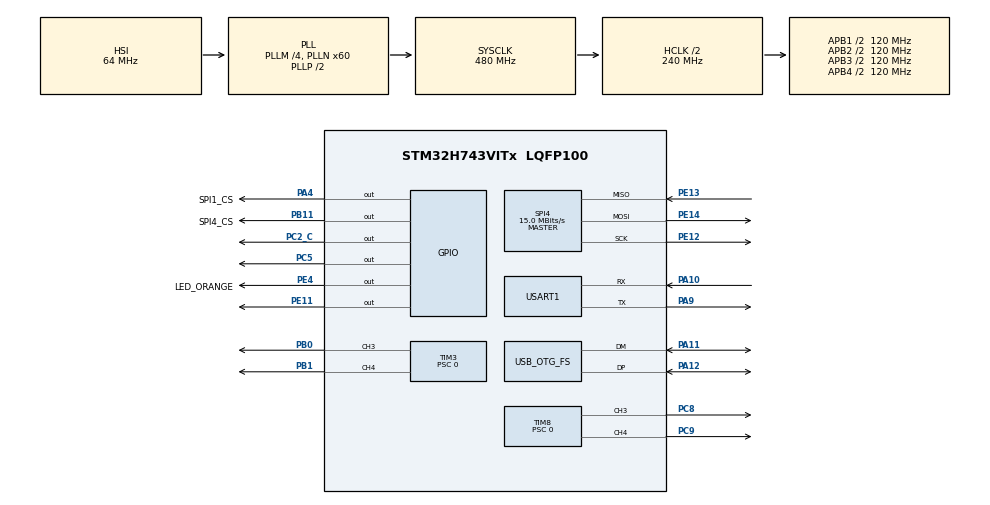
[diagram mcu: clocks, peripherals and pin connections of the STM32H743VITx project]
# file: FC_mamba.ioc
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CORTEX_M7.AccessPermission_Spec=MPU_REGION_FULL_ACCESS
CORTEX_M7.BaseAddress_Spec=0x30000000
CORTEX_M7.CPU_DCache=Enabled
CORTEX_M7.CPU_ICache=Enabled
CORTEX_M7.Size_Spec=MPU_REGION_SIZE_1KB
CORTEX_M7.TypeExtField_Spec=MPU_TEX_LEVEL1
CORTEX_M7.default_mode_Activation=1
Dma.Request0=USART1_RX
Dma.Request1=USART1_TX
Dma.Request2=TIM3_CH3
Dma.Request3=TIM3_CH4
Dma.Request4=TIM8_CH3
Dma.Request5=TIM8_CH4
Dma.TIM3_CH3.2.Direction=DMA_MEMORY_TO_PERIPH
Dma.TIM3_CH3.2.EventEnable=DISABLE
Dma.TIM3_CH3.2.FIFOMode=DMA_FIFOMODE_DISABLE
Dma.TIM3_CH3.2.Instance=DMA1_Stream2
Dma.TIM3_CH3.2.MemDataAlignment=DMA_MDATAALIGN_WORD
Dma.TIM3_CH3.2.MemInc=DMA_MINC_ENABLE
Dma.TIM3_CH3.2.Mode=DMA_NORMAL
Dma.TIM3_CH3.2.PeriphDataAlignment=DMA_PDATAALIGN_WORD
Dma.TIM3_CH3.2.PeriphInc=DMA_PINC_DISABLE
Dma.TIM3_CH3.2.Polarity=HAL_DMAMUX_REQ_GEN_RISING
Dma.TIM3_CH3.2.Priority=DMA_PRIORITY_LOW
Dma.TIM3_CH3.2.RequestNumber=1
Dma.TIM3_CH3.2.SignalID=NONE
Dma.TIM3_CH3.2.SyncEnable=DISABLE
Dma.TIM3_CH3.2.SyncPolarity=HAL_DMAMUX_SYNC_NO_EVENT
Dma.TIM3_CH3.2.SyncRequestNumber=1
Dma.TIM3_CH3.2.SyncSignalID=NONE
Dma.TIM3_CH4.3.Direction=DMA_MEMORY_TO_PERIPH
Dma.TIM3_CH4.3.EventEnable=DISABLE
Dma.TIM3_CH4.3.FIFOMode=DMA_FIFOMODE_DISABLE
Dma.TIM3_CH4.3.Instance=DMA1_Stream3
Dma.TIM3_CH4.3.MemDataAlignment=DMA_MDATAALIGN_WORD
Dma.TIM3_CH4.3.MemInc=DMA_MINC_ENABLE
Dma.TIM3_CH4.3.Mode=DMA_NORMAL
Dma.TIM3_CH4.3.PeriphDataAlignment=DMA_PDATAALIGN_WORD
Dma.TIM3_CH4.3.PeriphInc=DMA_PINC_DISABLE
Dma.TIM3_CH4.3.Polarity=HAL_DMAMUX_REQ_GEN_RISING
Dma.TIM3_CH4.3.Priority=DMA_PRIORITY_LOW
Dma.TIM3_CH4.3.RequestNumber=1
Dma.TIM3_CH4.3.SignalID=NONE
Dma.TIM3_CH4.3.SyncEnable=DISABLE
Dma.TIM3_CH4.3.SyncPolarity=HAL_DMAMUX_SYNC_NO_EVENT
Dma.TIM3_CH4.3.SyncRequestNumber=1
Dma.TIM3_CH4.3.SyncSignalID=NONE
Dma.TIM8_CH3.4.Direction=DMA_MEMORY_TO_PERIPH
Dma.TIM8_CH3.4.EventEnable=DISABLE
Dma.TIM8_CH3.4.FIFOMode=DMA_FIFOMODE_DISABLE
Dma.TIM8_CH3.4.Instance=DMA1_Stream4
Dma.TIM8_CH3.4.MemDataAlignment=DMA_MDATAALIGN_WORD
Dma.TIM8_CH3.4.MemInc=DMA_MINC_ENABLE
Dma.TIM8_CH3.4.Mode=DMA_NORMAL
Dma.TIM8_CH3.4.PeriphDataAlignment=DMA_PDATAALIGN_WORD
Dma.TIM8_CH3.4.PeriphInc=DMA_PINC_DISABLE
Dma.TIM8_CH3.4.Polarity=HAL_DMAMUX_REQ_GEN_RISING
Dma.TIM8_CH3.4.Priority=DMA_PRIORITY_LOW
Dma.TIM8_CH3.4.RequestNumber=1
Dma.TIM8_CH3.4.SignalID=NONE
Dma.TIM8_CH3.4.SyncEnable=DISABLE
Dma.TIM8_CH3.4.SyncPolarity=HAL_DMAMUX_SYNC_NO_EVENT
Dma.TIM8_CH3.4.SyncRequestNumber=1
Dma.TIM8_CH3.4.SyncSignalID=NONE
Dma.TIM8_CH4.5.Direction=DMA_MEMORY_TO_PERIPH
Dma.TIM8_CH4.5.EventEnable=DISABLE
Dma.TIM8_CH4.5.FIFOMode=DMA_FIFOMODE_DISABLE
Dma.TIM8_CH4.5.Instance=DMA1_Stream5
Dma.TIM8_CH4.5.MemDataAlignment=DMA_MDATAALIGN_WORD
Dma.TIM8_CH4.5.MemInc=DMA_MINC_ENABLE
Dma.TIM8_CH4.5.Mode=DMA_NORMAL
Dma.TIM8_CH4.5.PeriphDataAlignment=DMA_PDATAALIGN_WORD
Dma.TIM8_CH4.5.PeriphInc=DMA_PINC_DISABLE
Dma.TIM8_CH4.5.Polarity=HAL_DMAMUX_REQ_GEN_RISING
Dma.TIM8_CH4.5.Priority=DMA_PRIORITY_LOW
Dma.TIM8_CH4.5.RequestNumber=1
Dma.TIM8_CH4.5.SignalID=NONE
Dma.TIM8_CH4.5.SyncEnable=DISABLE
Dma.TIM8_CH4.5.SyncPolarity=HAL_DMAMUX_SYNC_NO_EVENT
Dma.TIM8_CH4.5.SyncRequestNumber=1
Dma.TIM8_CH4.5.SyncSignalID=NONE
Dma.USART1_RX.0.Direction=DMA_PERIPH_TO_MEMORY
Dma.USART1_RX.0.EventEnable=DISABLE
Dma.USART1_RX.0.FIFOMode=DMA_FIFOMODE_DISABLE
Dma.USART1_RX.0.Instance=DMA1_Stream0
Dma.USART1_RX.0.MemDataAlignment=DMA_MDATAALIGN_BYTE
Dma.USART1_RX.0.MemInc=DMA_MINC_ENABLE
Dma.USART1_RX.0.Mode=DMA_CIRCULAR
Dma.USART1_RX.0.PeriphDataAlignment=DMA_PDATAALIGN_BYTE
Dma.USART1_RX.0.PeriphInc=DMA_PINC_DISABLE
Dma.USART1_RX.0.Polarity=HAL_DMAMUX_REQ_GEN_RISING
Dma.USART1_RX.0.Priority=DMA_PRIORITY_LOW
Dma.USART1_RX.0.RequestNumber=1
Dma.USART1_RX.0.SignalID=NONE
Dma.USART1_RX.0.SyncEnable=DISABLE
Dma.USART1_RX.0.SyncPolarity=HAL_DMAMUX_SYNC_NO_EVENT
Dma.USART1_RX.0.SyncRequestNumber=1
Dma.USART1_RX.0.SyncSignalID=NONE
Dma.USART1_TX.1.Direction=DMA_MEMORY_TO_PERIPH
Dma.USART1_TX.1.EventEnable=DISABLE
Dma.USART1_TX.1.FIFOMode=DMA_FIFOMODE_DISABLE
Dma.USART1_TX.1.Instance=DMA1_Stream1
Dma.USART1_TX.1.MemDataAlignment=DMA_MDATAALIGN_BYTE
Dma.USART1_TX.1.MemInc=DMA_MINC_ENABLE
Dma.USART1_TX.1.Mode=DMA_NORMAL
Dma.USART1_TX.1.PeriphDataAlignment=DMA_PDATAALIGN_BYTE
Dma.USART1_TX.1.PeriphInc=DMA_PINC_DISABLE
Dma.USART1_TX.1.Polarity=HAL_DMAMUX_REQ_GEN_RISING
Dma.USART1_TX.1.Priority=DMA_PRIORITY_LOW
Dma.USART1_TX.1.RequestNumber=1
Dma.USART1_TX.1.SignalID=NONE
Dma.USART1_TX.1.SyncEnable=DISABLE
Dma.USART1_TX.1.SyncPolarity=HAL_DMAMUX_SYNC_NO_EVENT
Dma.USART1_TX.1.SyncRequestNumber=1
Dma.USART1_TX.1.SyncSignalID=NONE
FREERTOS.Tasks01=Task_System,8,256,StartTask_System,Default,NULL,Dynamic,NULL,NULL;Task_FlightCont,48,1024,StartTask_FlightControl,Default,NULL,Dynamic,NULL,NULL;Task_RC_Update,24,512,StartTask_RC,Default,NULL,Dynamic,NULL,NULL
FREERTOS.configMINIMAL_STACK_SIZE=256
FREERTOS.configTOTAL_HEAP_SIZE=65536
Mcu.Family=STM32H7
Mcu.Name=STM32H743VITx
Mcu.Package=LQFP100
NVIC.DMA1_Stream0_IRQn=true\:5\:0\:false\:false\:true\:true\:false\:true\:true
NVIC.DMA1_Stream1_IRQn=true\:5\:0\:false\:false\:true\:true\:false\:true\:true
NVIC.DMA1_Stream2_IRQn=true\:5\:0\:false\:false\:true\:true\:false\:true\:true
NVIC.DMA1_Stream3_IRQn=true\:5\:0\:false\:false\:true\:true\:false\:true\:true
NVIC.DMA1_Stream4_IRQn=true\:5\:0\:false\:false\:true\:true\:false\:true\:true
NVIC.DMA1_Stream5_IRQn=true\:5\:0\:false\:false\:true\:true\:false\:true\:true
NVIC.OTG_FS_IRQn=true\:5\:0\:false\:false\:true\:true\:false\:true\:true
NVIC.PriorityGroup=NVIC_PRIORITYGROUP_4
NVIC.TIM6_DAC_IRQn=true\:15\:0\:false\:false\:true\:false\:false\:true\:true
NVIC.TimeBase=TIM6_DAC_IRQn
NVIC.TimeBaseIP=TIM6
NVIC.USART1_IRQn=true\:5\:0\:false\:false\:true\:true\:true\:true\:true
PA10.Mode=Asynchronous
PA10.Signal=USART1_RX
PA11.Mode=Device_Only
PA11.Signal=USB_OTG_FS_DM
PA12.Mode=Device_Only
PA12.Signal=USB_OTG_FS_DP
PA13\ (JTMS/SWDIO).Mode=Serial_Wire
PA13\ (JTMS/SWDIO).Signal=DEBUG_JTMS-SWDIO
PA14\ (JTCK/SWCLK).Mode=Serial_Wire
PA14\ (JTCK/SWCLK).Signal=DEBUG_JTCK-SWCLK
PA4.GPIO_Label=SPI1_CS
PA4.Signal=GPIO_Output
PA9.Mode=Asynchronous
PA9.Signal=USART1_TX
PB0.Signal=S_TIM3_CH3
PB1.Signal=S_TIM3_CH4
PB11.GPIO_Label=SPI4_CS
PB11.Signal=GPIO_Output
PC2_C.Signal=GPIO_Output
PC5.Signal=GPIO_Output
PC8.Signal=S_TIM8_CH3
PC9.Signal=S_TIM8_CH4
PE11.Signal=GPIO_Output
PE12.Mode=Full_Duplex_Master
PE12.Signal=SPI4_SCK
PE13.Mode=Full_Duplex_Master
PE13.Signal=SPI4_MISO
PE14.Mode=Full_Duplex_Master
PE14.Signal=SPI4_MOSI
PE4.GPIO_Label=LED_ORANGE
PE4.Signal=GPIO_Output
PH0-OSC_IN\ (PH0).Mode=HSE-External-Oscillator
PH0-OSC_IN\ (PH0).Signal=RCC_OSC_IN
PH1-OSC_OUT\ (PH1).Mode=HSE-External-Oscillator
PH1-OSC_OUT\ (PH1).Signal=RCC_OSC_OUT
ProjectManager.HeapSize=0x200
ProjectManager.StackSize=0x400
ProjectManager.TargetToolchain=STM32CubeIDE
RCC.ADCFreq_Value=129000000
RCC.APB1Freq_Value=120000000
RCC.APB2Freq_Value=120000000
RCC.APB3Freq_Value=120000000
RCC.APB4Freq_Value=120000000
RCC.CortexFreq_Value=480000000
RCC.D1PPRE=RCC_APB3_DIV2
RCC.D2PPRE1=RCC_APB1_DIV2
RCC.D2PPRE2=RCC_APB2_DIV2
RCC.D3PPRE=RCC_APB4_DIV2
RCC.DIVM1=4
RCC.DIVN1=60
RCC.HCLKFreq_Value=240000000
RCC.HPRE=RCC_HCLK_DIV2
RCC.HSE_VALUE=8000000
RCC.PLLFRACN=0
RCC.SPI123CLockSelection=RCC_SPI123CLKSOURCE_PLL2
RCC.SYSCLKFreq_VALUE=480000000
RCC.SYSCLKSource=RCC_SYSCLKSOURCE_PLLCLK
RCC.USBCLockSelection=RCC_USBCLKSOURCE_HSI48
RCC.USBFreq_Value=48000000
SH.S_TIM3_CH3.0=TIM3_CH3,PWM Generation3 CH3
SH.S_TIM3_CH4.0=TIM3_CH4,PWM Generation4 CH4
SH.S_TIM8_CH3.0=TIM8_CH3,PWM Generation3 CH3
SH.S_TIM8_CH4.0=TIM8_CH4,PWM Generation4 CH4
SPI4.BaudRatePrescaler=SPI_BAUDRATEPRESCALER_8
SPI4.CLKPhase=SPI_PHASE_2EDGE
SPI4.CLKPolarity=SPI_POLARITY_HIGH
SPI4.CalculateBaudRate=15.0 MBits/s
SPI4.DataSize=SPI_DATASIZE_8BIT
SPI4.Direction=SPI_DIRECTION_2LINES
SPI4.Mode=SPI_MODE_MASTER
SPI4.NSSPMode=SPI_NSS_PULSE_DISABLE
SPI4.VirtualType=VM_MASTER
TIM3.Channel-PWM\ Generation3\ CH3=TIM_CHANNEL_3
TIM3.Channel-PWM\ Generation4\ CH4=TIM_CHANNEL_4
TIM3.Period=799
TIM3.Prescaler=0
TIM3.Pulse-PWM\ Generation3\ CH3=0
TIM3.Pulse-PWM\ Generation4\ CH4=0
TIM8.Channel-PWM\ Generation3\ CH3=TIM_CHANNEL_3
TIM8.Channel-PWM\ Generation4\ CH4=TIM_CHANNEL_4
TIM8.Period=799
TIM8.Prescaler=0
TIM8.Pulse-PWM\ Generation3\ CH3=0
TIM8.Pulse-PWM\ Generation4\ CH4=0
USART1.VirtualMode-Asynchronous=VM_ASYNC
USB_DEVICE.CLASS_NAME_FS=CDC
USB_DEVICE.VirtualMode-CDC_FS=Cdc
USB_DEVICE.VirtualModeFS=Cdc_FS
USB_OTG_FS.VirtualMode=Device_Only
VP_FREERTOS_VS_CMSIS_V2.Mode=CMSIS_V2
VP_MEMORYMAP_VS_MEMORYMAP.Mode=CurAppReg
VP_SYS_VS_tim6.Mode=TIM6
VP_TIM3_VS_ClockSourceINT.Mode=Internal
VP_TIM8_VS_ClockSourceINT.Mode=Internal
VP_USB_DEVICE_VS_USB_DEVICE_CDC_FS.Mode=CDC_FS
board=custom

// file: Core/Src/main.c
/* USER CODE BEGIN Header */
/**
  ******************************************************************************
  * @file           : main.c
  * @brief          : Main program body
  ******************************************************************************
  * @attention
  *
  * Copyright (c) 2026 STMicroelectronics.
  * All rights reserved.
  *
  * This software is licensed under terms that can be found in the LICENSE file
  * in the root directory of this software component.
  * If no LICENSE file comes with this software, it is provided AS-IS.
  *
  ******************************************************************************
  */
/* USER CODE END Header */
#include "main.h"
#include "cmsis_os.h"
#include "dma.h"
#include "spi.h"
#include "tim.h"
#include "usart.h"
#include "usb_device.h"
#include "gpio.h"

/* USER CODE BEGIN Includes */
#include "usbd_cdc_if.h"
#include <stdio.h>
/* USER CODE END Includes */

void SystemClock_Config(void);
static void MPU_Config(void);
void MX_FREERTOS_Init(void);

int main(void)
{

  /* MPU Configuration--------------------------------------------------------*/
  MPU_Config();

  /* Enable the CPU Cache */

  /* Enable I-Cache---------------------------------------------------------*/
  SCB_EnableICache();

  /* Enable D-Cache---------------------------------------------------------*/
  SCB_EnableDCache();

  /* MCU Configuration--------------------------------------------------------*/

  /* Reset of all peripherals, Initializes the Flash interface and the Systick. */
  HAL_Init();

  /* Configure the system clock */
  SystemClock_Config();

  /* Initialize all configured peripherals */
  MX_GPIO_Init();
  MX_DMA_Init();
  MX_SPI4_Init();
  MX_USART1_UART_Init();
  MX_TIM3_Init();
  MX_TIM8_Init();
  /* USER CODE BEGIN 2 */
  HAL_GPIO_WritePin(GPIOC, GPIO_PIN_2, GPIO_PIN_SET);  // Flash CS
  HAL_GPIO_WritePin(GPIOC, GPIO_PIN_5, GPIO_PIN_SET);  // VTX Power
  HAL_GPIO_WritePin(GPIOA, GPIO_PIN_4, GPIO_PIN_SET);  // PREINIT5
  HAL_GPIO_WritePin(GPIOE, GPIO_PIN_11, GPIO_PIN_SET); // IMU CS
  HAL_Delay(100);

  /* USER CODE END 2 */

  /* Init scheduler */
  osKernelInitialize();  /* Call init function for freertos objects (in cmsis_os2.c) */
  MX_FREERTOS_Init();

  /* Start scheduler */
  osKernelStart();

  /* We should never get here as control is now taken by the scheduler */

  /* Infinite loop */
  while (1)
  {

  }
}

void SystemClock_Config(void)
{
  RCC_OscInitTypeDef RCC_OscInitStruct = {0};
  RCC_ClkInitTypeDef RCC_ClkInitStruct = {0};

  /** Supply configuration update enable
  */
  HAL_PWREx_ConfigSupply(PWR_LDO_SUPPLY);

  /** Configure the main internal regulator output voltage
  */
  __HAL_PWR_VOLTAGESCALING_CONFIG(PWR_REGULATOR_VOLTAGE_SCALE0);

  while(!__HAL_PWR_GET_FLAG(PWR_FLAG_VOSRDY)) {}

  /** Initializes the RCC Oscillators according to the specified parameters
  * in the RCC_OscInitTypeDef structure.
  */
  RCC_OscInitStruct.OscillatorType = RCC_OSCILLATORTYPE_HSI48|RCC_OSCILLATORTYPE_HSI;
  RCC_OscInitStruct.HSIState = RCC_HSI_DIV1;
  RCC_OscInitStruct.HSICalibrationValue = RCC_HSICALIBRATION_DEFAULT;
  RCC_OscInitStruct.HSI48State = RCC_HSI48_ON;
  RCC_OscInitStruct.PLL.PLLState = RCC_PLL_ON;
  RCC_OscInitStruct.PLL.PLLSource = RCC_PLLSOURCE_HSI;
  RCC_OscInitStruct.PLL.PLLM = 4;
  RCC_OscInitStruct.PLL.PLLN = 60;
  RCC_OscInitStruct.PLL.PLLP = 2;
  RCC_OscInitStruct.PLL.PLLQ = 2;
  RCC_OscInitStruct.PLL.PLLR = 2;
  RCC_OscInitStruct.PLL.PLLRGE = RCC_PLL1VCIRANGE_3;
  RCC_OscInitStruct.PLL.PLLVCOSEL = RCC_PLL1VCOWIDE;
  RCC_OscInitStruct.PLL.PLLFRACN = 0;
  if (HAL_RCC_OscConfig(&RCC_OscInitStruct) != HAL_OK)
  {
    Error_Handler();
  }

  /** Initializes the CPU, AHB and APB buses clocks
  */
  RCC_ClkInitStruct.ClockType = RCC_CLOCKTYPE_HCLK|RCC_CLOCKTYPE_SYSCLK
                              |RCC_CLOCKTYPE_PCLK1|RCC_CLOCKTYPE_PCLK2
                              |RCC_CLOCKTYPE_D3PCLK1|RCC_CLOCKTYPE_D1PCLK1;
  RCC_ClkInitStruct.SYSCLKSource = RCC_SYSCLKSOURCE_PLLCLK;
  RCC_ClkInitStruct.SYSCLKDivider = RCC_SYSCLK_DIV1;
  RCC_ClkInitStruct.AHBCLKDivider = RCC_HCLK_DIV2;
  RCC_ClkInitStruct.APB3CLKDivider = RCC_APB3_DIV2;
  RCC_ClkInitStruct.APB1CLKDivider = RCC_APB1_DIV2;
  RCC_ClkInitStruct.APB2CLKDivider = RCC_APB2_DIV2;
  RCC_ClkInitStruct.APB4CLKDivider = RCC_APB4_DIV2;

  if (HAL_RCC_ClockConfig(&RCC_ClkInitStruct, FLASH_LATENCY_4) != HAL_OK)
  {
    Error_Handler();
  }
}

/* USER CODE BEGIN 4 */
int _write(int file, char *ptr, int len){
	uint8_t result = CDC_Transmit_FS((uint8_t*)ptr, len);

	uint32_t timout = 100;
	while (result == USBD_BUSY && timout--){
		result = CDC_Transmit_FS((uint8_t*)ptr, len);
		osDelay(1);
	}
	return len;
}

/* USER CODE END 4 */

 /* MPU Configuration */

void MPU_Config(void)
{
  MPU_Region_InitTypeDef MPU_InitStruct = {0};

  /* Disables the MPU */
  HAL_MPU_Disable();

  /** Initializes and configures the Region and the memory to be protected
  */
  MPU_InitStruct.Enable = MPU_REGION_ENABLE;
  MPU_InitStruct.Number = MPU_REGION_NUMBER0;
  MPU_InitStruct.BaseAddress = 0x30000000;
  MPU_InitStruct.Size = MPU_REGION_SIZE_1KB;
  MPU_InitStruct.SubRegionDisable = 0x00;
  MPU_InitStruct.TypeExtField = MPU_TEX_LEVEL1;
  MPU_InitStruct.AccessPermission = MPU_REGION_FULL_ACCESS;
  MPU_InitStruct.DisableExec = MPU_INSTRUCTION_ACCESS_DISABLE;
  MPU_InitStruct.IsShareable = MPU_ACCESS_SHAREABLE;
  MPU_InitStruct.IsCacheable = MPU_ACCESS_NOT_CACHEABLE;
  MPU_InitStruct.IsBufferable = MPU_ACCESS_NOT_BUFFERABLE;

  HAL_MPU_ConfigRegion(&MPU_InitStruct);
  /* Enables the MPU */
  HAL_MPU_Enable(MPU_PRIVILEGED_DEFAULT);

}

void HAL_TIM_PeriodElapsedCallback(TIM_HandleTypeDef *htim)
{
  if (htim->Instance == TIM6)
  {
    HAL_IncTick();
  }
}

void Error_Handler(void)
{
  __disable_irq();
  while (1)
  {
  }
}

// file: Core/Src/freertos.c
/* USER CODE BEGIN Header */
/**
  ******************************************************************************
  * File Name          : freertos.c
  * Description        : Code for freertos applications
  ******************************************************************************
  * @attention
  *
  * Copyright (c) 2026 STMicroelectronics.
  * All rights reserved.
  *
  * This software is licensed under terms that can be found in the LICENSE file
  * in the root directory of this software component.
  * If no LICENSE file comes with this software, it is provided AS-IS.
  *
  ******************************************************************************
  */
/* USER CODE END Header */

#include "FreeRTOS.h"
#include "task.h"
#include "main.h"
#include "cmsis_os.h"

/* USER CODE BEGIN Includes */
#include "icm42688.h"
#include <stdio.h>
extern SPI_HandleTypeDef hspi4;
#include "madgwick_filter.h"
#include "drv_rc.h"
#include "drv_motor.h"
#include "flight_state.h"
#include "mixer.h"
#include <string.h>
extern UART_HandleTypeDef huart1;

uint8_t rx_byte;
char rx_buffer[128];
uint8_t rx_index = 0;
uint8_t new_cmd_received = 0;

/* USER CODE END Includes */

/* USER CODE BEGIN PTD */
ICM42688_Data_t imu_data;
Madgwick_t madgwick;
/* USER CODE END PTD */

/* Definitions for Task_System */
osThreadId_t Task_SystemHandle;
const osThreadAttr_t Task_System_attributes = {
  .name = "Task_System",
  .stack_size = 256 * 4,
  .priority = (osPriority_t) osPriorityLow,
};
/* Definitions for Task_FlightCont */
osThreadId_t Task_FlightContHandle;
const osThreadAttr_t Task_FlightCont_attributes = {
  .name = "Task_FlightCont",
  .stack_size = 1024 * 4,
  .priority = (osPriority_t) osPriorityRealtime,
};
/* Definitions for Task_RC_Update */
osThreadId_t Task_RC_UpdateHandle;
const osThreadAttr_t Task_RC_Update_attributes = {
  .name = "Task_RC_Update",
  .stack_size = 512 * 4,
  .priority = (osPriority_t) osPriorityNormal,
};

void StartTask_System(void *argument);
void StartTask_FlightControl(void *argument);
void StartTask_RC(void *argument);

extern void MX_USB_DEVICE_Init(void);
void MX_FREERTOS_Init(void); /* (MISRA C 2004 rule 8.1) */

void MX_FREERTOS_Init(void) {

  /* Create the thread(s) */
  /* creation of Task_System */
  Task_SystemHandle = osThreadNew(StartTask_System, NULL, &Task_System_attributes);

  /* creation of Task_FlightCont */
  Task_FlightContHandle = osThreadNew(StartTask_FlightControl, NULL, &Task_FlightCont_attributes);

  /* creation of Task_RC_Update */
  Task_RC_UpdateHandle = osThreadNew(StartTask_RC, NULL, &Task_RC_Update_attributes);

}

void StartTask_System(void *argument)
{
  /* init code for USB_DEVICE */
  MX_USB_DEVICE_Init();
  /* USER CODE BEGIN StartTask_System */
  HAL_UART_Receive_IT(&huart1, &rx_byte, 1);
  /* Infinite loop */
  for(;;)
  {
	  if (new_cmd_received == 1){
		  if (strncmp(rx_buffer, "PID:", 4) == 0){
			  float pR, iR, dR, pP, iP, dP, pY, iY, dY;

			  // Chặt 9 con số từ chuỗi
			  int parsed = sscanf(rx_buffer, "PID:%f,%f,%f,%f,%f,%f,%f,%f,%f",
								&pR, &iR, &dR, &pP, &iP, &dP, &pY, &iY, &dY);
			  // Nếu cắt đúng đủ 9 tham số thì mới cập nhật (Chống lỗi gửi thiếu)
			  if (parsed == 9) {
				  PID_Init(&pid_roll,  pR, iR, dR, 100.0f, 400.0f, 0.25f);
				  PID_Init(&pid_pitch, pP, iP, dP, 100.0f, 400.0f, 0.25f);
				  PID_Init(&pid_yaw,   pY, iY, dY, 100.0f, 400.0f, 0.0f);
			  }
		  }
		  new_cmd_received = 0;
	  }
	  osDelay(10);
  }
  /* USER CODE END StartTask_System */
}

void StartTask_FlightControl(void *argument)
{
  /* USER CODE BEGIN StartTask_FlightControl */
	osDelay(500);

	//Init IMU
	ICM42688_Init(&hspi4);
	ICM42688_Calibrate();
	Madgwick_Init(&madgwick, 0.1f);

	//Init Motor - ESC 3s arm
	Motor_Init();
	FlightState_Init();
	Mixer_Init();
	flight_status.is_calibrated = 1;

	uint32_t last_tick = osKernelGetTickCount();
	const uint32_t loop_period = 1;
	float dt = 0.001f;

  /* Infinite loop */
  for(;;)
  {
	  ICM42688_Read_All(&imu_data);

	  Madgwick_Update(&madgwick,
	                  imu_data.gyro_x, imu_data.gyro_y, imu_data.gyro_z,
	                  imu_data.acc_x,  imu_data.acc_y,  imu_data.acc_z,
	                  dt);

	  if(flight_status.state == STATE_ARMED){
		  // Map RC (1000-2000) -> góc mục tiêu (-45 đến +45 độ)
		  float roll_target 	= ((float)rc_data.roll 	- 1500.0f) / 500.0f * 45.0f;
		  float pitch_target 	= ((float)rc_data.pitch - 1500.0f) / 500.0f * 45.0f;
		  float yaw_target 		= ((float)rc_data.yaw 	- 1500.0f) / 500.0f * 180.0f;

		  //Throttle expo
		  float t = (float)(rc_data.throttle - 1000) / 1000.0f;
		  if (t < 0.0f) t = 0.0f;
		  if (t > 1.0f) t = 1.0f;

		  float t_expo = t;
		  uint16_t throttle_final = (uint16_t)(t_expo * 1000.0f);

		  if (rc_data.throttle < 1010) {
		      throttle_final = 0;
		  } else if (throttle_final < 60) {
		      throttle_final = 60;
		  }

		  MotorOutput_t motors = Mixer_Compute(
				  	throttle_final,
					madgwick.roll, madgwick.pitch,
					imu_data.gyro_x, imu_data.gyro_y, imu_data.gyro_z,
					roll_target, pitch_target, yaw_target,
					dt);

		  // Map từ dải output của Mixer (0-1000) sang dải DShot vòng tua (48 - 2047)
		  uint16_t dshot_m1 = 48 + (motors.m1 * 1999) / 1000;
		  uint16_t dshot_m2 = 48 + (motors.m2 * 1999) / 1000;
		  uint16_t dshot_m3 = 48 + (motors.m3 * 1999) / 1000;
		  uint16_t dshot_m4 = 48 + (motors.m4 * 1999) / 1000;

		  // Gửi lệnh xuống Motor
		  Motor_SetDShot(MOTOR_1, dshot_m1);
		  Motor_SetDShot(MOTOR_2, dshot_m2);
		  Motor_SetDShot(MOTOR_3, dshot_m3);
		  Motor_SetDShot(MOTOR_4, dshot_m4);
	  } else {
		  Motor_Stop();
		  PID_Reset(&pid_roll);
		  PID_Reset(&pid_pitch);
		  PID_Reset(&pid_yaw);
		  PID_Reset(&pid_angle_roll);
		  PID_Reset(&pid_angle_pitch);
	  }

	  static uint16_t led_counter = 0;
	  if (++led_counter >= 500) {
	      HAL_GPIO_TogglePin(LED_ORANGE_GPIO_Port, LED_ORANGE_Pin);
	      led_counter = 0;
	  }

	  last_tick += loop_period;
	  osDelayUntil(last_tick);
  }
  /* USER CODE END StartTask_FlightControl */
}

void StartTask_RC(void *argument)
{
  /* USER CODE BEGIN StartTask_RC */
	DRV_RC_Init();

  /* Infinite loop */
  for(;;)
  {
    DRV_RC_ParseData();
    DRV_RC_IsHealthy();
    FlightState_Update();

    float roll_target   = ((float)rc_data.roll  - 1500.0f) / 500.0f * 45.0f;
    float pitch_target  = ((float)rc_data.pitch - 1500.0f) / 500.0f * 45.0f;
    float yaw_target    = ((float)rc_data.yaw   - 1500.0f) / 500.0f * 180.0f;
    float vbat_mock     = 13.4f;

    static char tele_buf[128];
	int tele_len = snprintf(tele_buf, sizeof(tele_buf), "DAT:%d,%.2f,%.2f,%.2f,%.2f,%.2f,%.2f,%.2f\r\n",
														rc_data.throttle,
														madgwick.roll, madgwick.pitch, madgwick.yaw,
														roll_target, pitch_target, yaw_target,
														vbat_mock);
	if (tele_len > 0) {
	        HAL_UART_Transmit_IT(&huart1, (uint8_t *)tele_buf, tele_len);
	}

    osDelay(20);
  }
  /* USER CODE END StartTask_RC */
}

/* USER CODE BEGIN Application */
void HAL_UART_RxCpltCallback(UART_HandleTypeDef *huart){
	if (huart->Instance == USART1) {
	        // Nếu nhận được dấu xuống dòng -> Kết thúc câu lệnh
	        if (rx_byte == '\n') {
	            rx_buffer[rx_index] = '\0'; // Khóa chuỗi
	            new_cmd_received = 1;       // Phất cờ báo cho Task_System biết
	            rx_index = 0;               // Reset con trỏ cho câu lệnh tiếp theo
	        }
	        else {
	            // Chống tràn bộ đệm
	            if (rx_index < 127) {
	                rx_buffer[rx_index++] = rx_byte;
	            }
	        }
	        // Kích hoạt lại "đôi tai" ngắt để hứng ký tự tiếp theo
	        HAL_UART_Receive_IT(&huart1, &rx_byte, 1);
	    }
}

/* USER CODE END Application */
